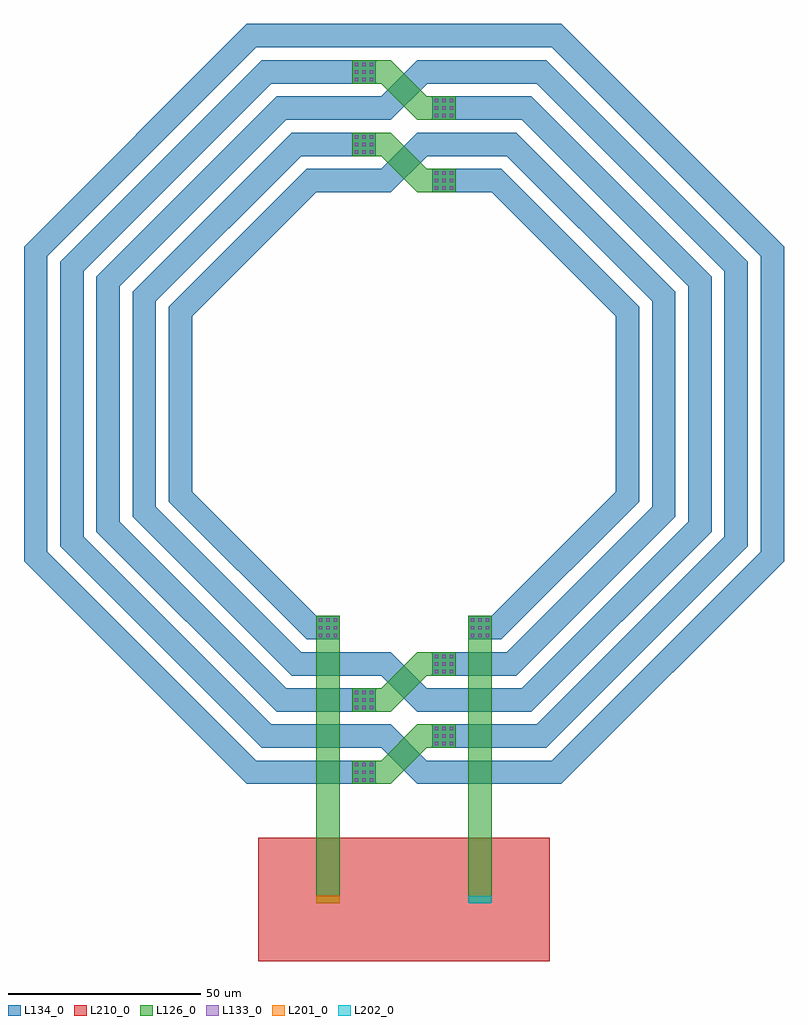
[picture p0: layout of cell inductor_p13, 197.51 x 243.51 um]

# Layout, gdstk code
import gdstk
lib = gdstk.Library(unit=1e-6, precision=1e-09)
def R(c, l, rs):  # rectangles x0, y0, x1, y1
    for r in rs: c.add(gdstk.rectangle(r[:2], r[2:], *l))
def A(c, l, x, y, w, h, nx, ny, dx, dy):  # array of equal rectangles
    R(c, l, [(x+i*dx, y+j*dy, x+i*dx+w, y+j*dy+h) for i in range(nx) for j in range(ny)])
def P(c, l, *ps):  # polygons
    for p in ps: c.add(gdstk.Polygon(p, *l))
L126_0 = (126, 0)
L133_0 = (133, 0)
L134_0 = (134, 0)
L201_0 = (201, 0)
L202_0 = (202, 0)
L210_0 = (210, 0)

inductor_p13 = lib.new_cell('inductor_p13')
R(inductor_p13, L126_0, [(-22.825,-1,-16.725,73.66), (16.725,-1,22.825,73.66)])
P(inductor_p13, L126_0, [(3.455,183.77),(-5.955,193.18),(-13.435,193.18),(-13.435,199.28),(-3.455,199.28),(5.955,189.87),(13.435,189.87),(13.435,183.77)],
  [(3.455,202.59),(-5.955,212),(-13.435,212),(-13.435,218.1),(-3.455,218.1),(5.955,208.69),(13.435,208.69),(13.435,202.59)],
  [(-13.435,48.78),(-13.435,54.88),(-5.965,54.88),(3.425,64.27),(13.445,64.27),(13.445,58.17),(5.955,58.17),(-3.435,48.78)],
  [(-13.435,30),(-13.435,36.1),(-5.965,36.1),(3.425,45.49),(13.445,45.49),(13.445,39.39),(5.955,39.39),(-3.435,30)])
A(inductor_p13, L133_0, -12.795, 30.64, 0.9, 0.9, 3, 3, 1.96, 1.96)
A(inductor_p13, L133_0, 7.985, 40.03, 0.9, 0.9, 3, 3, 1.96, 1.96)
A(inductor_p13, L133_0, -12.795, 49.42, 0.9, 0.9, 3, 3, 1.96, 1.96)
A(inductor_p13, L133_0, 7.985, 58.81, 0.9, 0.9, 3, 3, 1.96, 1.96)
A(inductor_p13, L133_0, -22.185, 68.2, 0.9, 0.9, 3, 3, 1.96, 1.96)
A(inductor_p13, L133_0, 17.365, 68.2, 0.9, 0.9, 3, 3, 1.96, 1.96)
A(inductor_p13, L133_0, 7.975, 184.41, 0.9, 0.9, 3, 3, 1.96, 1.96)
A(inductor_p13, L133_0, -12.795, 193.8, 0.9, 0.9, 3, 3, 1.96, 1.96)
A(inductor_p13, L133_0, 7.975, 203.23, 0.9, 0.9, 3, 3, 1.96, 1.96)
A(inductor_p13, L133_0, -12.795, 212.62, 0.9, 0.9, 3, 3, 1.96, 1.96)
R(inductor_p13, L134_0, [(-7.335,221.41,7.335,227.51)])
P(inductor_p13, L134_0, [(16.725,67.56),(16.725,73.66),(22.8,73.66),(55.055,105.915),(55.055,151.515),(22.8,183.77),(7.335,183.77),(7.335,189.87),(25.335,189.87),(61.155,154.05),(61.155,103.38),(25.335,67.56)],
  [(-25.335,67.56),(-61.155,103.38),(-61.155,154.05),(-25.335,189.87),(-7.335,189.87),(-7.335,183.77),(-22.8,183.77),(-55.055,151.515),(-55.055,105.915),(-22.8,73.66),(-16.725,73.66),(-16.725,67.56)],
  [(-7.335,183.77),(-7.335,189.87),(-5.955,189.87),(3.455,199.28),(7.335,199.28),(7.335,193.18),(5.985,193.18),(-3.425,183.77)],
  [(7.335,58.17),(7.335,64.27),(26.695,64.27),(64.455,102.03),(64.455,155.42),(26.695,193.18),(7.335,193.18),(7.335,199.28),(29.23,199.28),(70.555,157.955),(70.555,99.495),(29.23,58.17)],
  [(-29.23,58.17),(-70.555,99.495),(-70.555,157.955),(-29.23,199.28),(-7.335,199.28),(-7.335,193.18),(-26.695,193.18),(-64.455,155.42),(-64.455,102.03),(-26.695,64.27),(-7.335,64.27),(-7.335,58.17)],
  [(7.335,48.78),(7.335,54.88),(30.59,54.88),(73.855,98.145),(73.855,159.325),(30.59,202.59),(7.335,202.59),(7.335,208.69),(33.125,208.69),(79.955,161.86),(79.955,95.61),(33.125,48.78)],
  [(-33.125,48.78),(-79.955,95.61),(-79.955,161.86),(-33.125,208.69),(-7.335,208.69),(-7.335,202.59),(-30.59,202.59),(-73.855,159.325),(-73.855,98.145),(-30.59,54.88),(-7.335,54.88),(-7.335,48.78)],
  [(-7.335,202.59),(-7.335,208.69),(-5.955,208.69),(3.455,218.1),(7.335,218.1),(7.335,212),(5.985,212),(-3.425,202.59)],
  [(3.435,48.78),(-5.955,58.17),(-7.335,58.17),(-7.335,64.27),(-3.425,64.27),(5.965,54.88),(7.335,54.88),(7.335,48.78)],
  [(7.335,39.39),(7.335,45.49),(34.485,45.49),(83.255,94.26),(83.255,163.23),(34.485,212),(7.335,212),(7.335,218.1),(37.02,218.1),(89.355,165.765),(89.355,91.725),(37.02,39.39)],
  [(-37.02,39.39),(-89.355,91.725),(-89.355,165.765),(-37.02,218.1),(-7.335,218.1),(-7.335,212),(-34.485,212),(-83.255,163.23),(-83.255,94.26),(-34.485,45.49),(-7.335,45.49),(-7.335,39.39)],
  [(7.335,30),(7.335,36.1),(38.375,36.1),(92.655,90.38),(92.655,167.13),(38.375,221.41),(7.335,221.41),(7.335,227.51),(40.91,227.51),(98.755,169.665),(98.755,87.845),(40.91,30)],
  [(-40.91,30),(-98.755,87.845),(-98.755,169.665),(-40.91,227.51),(-7.335,227.51),(-7.335,221.41),(-38.375,221.41),(-92.655,167.13),(-92.655,90.38),(-38.375,36.1),(-7.335,36.1),(-7.335,30)],
  [(3.435,30),(-5.955,39.39),(-7.335,39.39),(-7.335,45.49),(-3.425,45.49),(5.965,36.1),(7.335,36.1),(7.335,30)])
R(inductor_p13, L201_0, [(-22.825,-1,-16.725,1)])
R(inductor_p13, L202_0, [(16.725,-1,22.825,1)])
R(inductor_p13, L210_0, [(-37.825,-16,37.825,16)])

lib.write_gds('inductor_p13.gds')
